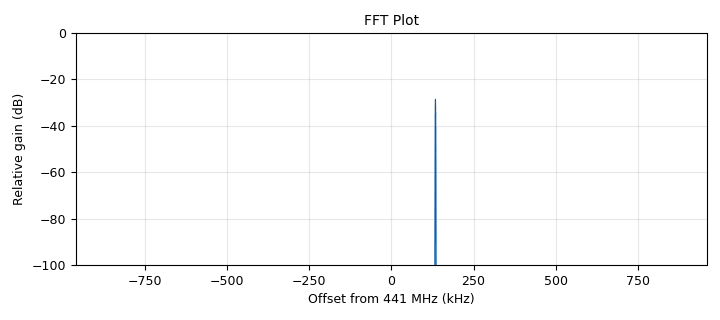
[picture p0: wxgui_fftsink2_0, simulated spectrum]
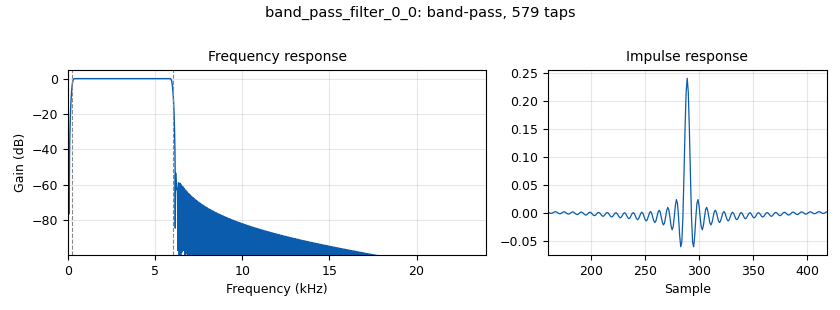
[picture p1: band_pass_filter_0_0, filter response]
<?xml version='1.0' encoding='utf-8'?>
<?grc format='1' created='3.7.13'?>
<flow_graph>
<block>
<key>options</key>
<param><key>id</key><value>SSB</value></param>
<param><key>generate_options</key><value>wx_gui</value></param>
</block>
<block>
<key>variable</key>
<param><key>id</key><value>audio_rate</value></param>
<param><key>value</key><value>48000</value></param>
</block>
<block>
<key>variable</key>
<param><key>id</key><value>samp_rate</value></param>
<param><key>value</key><value>1920000</value></param>
</block>
<block>
<key>analog_const_source_x</key>
<param><key>id</key><value>analog_const_source_x_0</value></param>
<param><key>const</key><value>0</value></param>
<param><key>type</key><value>float</value></param>
</block>
<block>
<key>analog_sig_source_x</key>
<param><key>id</key><value>analog_sig_source_x_0</value></param>
<param><key>amp</key><value>1</value></param>
<param><key>freq</key><value>2000</value></param>
<param><key>offset</key><value>1.5708</value></param>
<param><key>type</key><value>complex</value></param>
<param><key>samp_rate</key><value>samp_rate</value></param>
<param><key>waveform</key><value>analog.GR_SIN_WAVE</value></param>
</block>
<block>
<key>analog_sig_source_x</key>
<param><key>id</key><value>analog_sig_source_x_0_0</value></param>
<param><key>amp</key><value>3</value></param>
<param><key>freq</key><value>3000</value></param>
<param><key>offset</key><value>0</value></param>
<param><key>type</key><value>complex</value></param>
<param><key>samp_rate</key><value>samp_rate</value></param>
<param><key>waveform</key><value>analog.GR_SIN_WAVE</value></param>
</block>
<block>
<key>analog_sig_source_x</key>
<param><key>id</key><value>analog_sig_source_x_0_1_0</value></param>
<param><key>amp</key><value>1.8</value></param>
<param><key>freq</key><value>14000</value></param>
<param><key>offset</key><value>0</value></param>
<param><key>type</key><value>complex</value></param>
<param><key>samp_rate</key><value>audio_rate</value></param>
<param><key>waveform</key><value>analog.GR_SIN_WAVE</value></param>
</block>
<block>
<key>analog_sig_source_x</key>
<param><key>id</key><value>analog_sig_source_x_0_1_1</value></param>
<param><key>amp</key><value>.142857</value></param>
<param><key>freq</key><value>120000</value></param>
<param><key>offset</key><value>0</value></param>
<param><key>type</key><value>complex</value></param>
<param><key>samp_rate</key><value>samp_rate</value></param>
<param><key>waveform</key><value>analog.GR_COS_WAVE</value></param>
</block>
<block>
<key>analog_sig_source_x</key>
<param><key>id</key><value>analog_sig_source_x_1</value></param>
<param><key>amp</key><value>2</value></param>
<param><key>freq</key><value>4000</value></param>
<param><key>offset</key><value>0.7854</value></param>
<param><key>type</key><value>complex</value></param>
<param><key>samp_rate</key><value>samp_rate</value></param>
<param><key>waveform</key><value>analog.GR_SIN_WAVE</value></param>
</block>
<block>
<key>analog_sig_source_x</key>
<param><key>id</key><value>analog_sig_source_x_1_0</value></param>
<param><key>amp</key><value>5</value></param>
<param><key>freq</key><value>5000</value></param>
<param><key>offset</key><value>1.0472</value></param>
<param><key>type</key><value>complex</value></param>
<param><key>samp_rate</key><value>samp_rate</value></param>
<param><key>waveform</key><value>analog.GR_SIN_WAVE</value></param>
</block>
<block>
<key>band_pass_filter</key>
<param><key>id</key><value>band_pass_filter_0_0</value></param>
<param><key>decim</key><value>1</value></param>
<param><key>type</key><value>fir_filter_ccf</value></param>
<param><key>gain</key><value>1</value></param>
<param><key>high_cutoff_freq</key><value>6000</value></param>
<param><key>low_cutoff_freq</key><value>200</value></param>
<param><key>samp_rate</key><value>audio_rate</value></param>
<param><key>width</key><value>200</value></param>
<param><key>win</key><value>firdes.WIN_HAMMING</value></param>
</block>
<block>
<key>blocks_add_xx</key>
<param><key>id</key><value>blocks_add_xx_0</value></param>
<param><key>type</key><value>complex</value></param>
<param><key>num_inputs</key><value>4</value></param>
</block>
<block>
<key>blocks_complex_to_real</key>
<param><key>id</key><value>blocks_complex_to_real_0</value></param>
</block>
<block>
<key>blocks_float_to_complex</key>
<param><key>id</key><value>blocks_float_to_complex_0</value></param>
</block>
<block>
<key>blocks_multiply_xx</key>
<param><key>id</key><value>blocks_multiply_xx_0_0</value></param>
<param><key>type</key><value>complex</value></param>
</block>
<block>
<key>blocks_multiply_xx</key>
<param><key>id</key><value>blocks_multiply_xx_0_1</value></param>
<param><key>type</key><value>complex</value></param>
</block>
<block>
<key>blocks_wavfile_source</key>
<param><key>id</key><value>blocks_wavfile_source_0</value></param>
<param><key>_enabled</key><value>0</value></param>
<param><key>file</key><value>/home/shurrel2/Documents/GNU testing/can-you-keep-a-secret.wav</value></param>
<param><key>repeat</key><value>True</value></param>
</block>
<block>
<key>rational_resampler_xxx</key>
<param><key>id</key><value>rational_resampler_xxx_0</value></param>
<param><key>decim</key><value>audio_rate</value></param>
<param><key>interp</key><value>samp_rate</value></param>
<param><key>taps</key><value></value></param>
<param><key>type</key><value>ccc</value></param>
</block>
<block>
<key>wxgui_fftsink2</key>
<param><key>id</key><value>wxgui_fftsink2_0</value></param>
<param><key>avg_alpha</key><value>0</value></param>
<param><key>average</key><value>False</value></param>
<param><key>baseband_freq</key><value>441000000</value></param>
<param><key>fft_size</key><value>4096</value></param>
<param><key>freqvar</key><value>None</value></param>
<param><key>peak_hold</key><value>False</value></param>
<param><key>ref_level</key><value>0</value></param>
<param><key>ref_scale</key><value>2.0</value></param>
<param><key>fft_rate</key><value>15</value></param>
<param><key>samp_rate</key><value>samp_rate</value></param>
<param><key>title</key><value>FFT Plot</value></param>
<param><key>type</key><value>complex</value></param>
<param><key>win</key><value>None</value></param>
<param><key>y_divs</key><value>10</value></param>
<param><key>y_per_div</key><value>10</value></param>
</block>
<block>
<key>wxgui_scopesink2</key>
<param><key>id</key><value>wxgui_scopesink2_0</value></param>
<param><key>ac_couple</key><value>False</value></param>
<param><key>_enabled</key><value>0</value></param>
<param><key>num_inputs</key><value>1</value></param>
<param><key>samp_rate</key><value>samp_rate</value></param>
<param><key>t_scale</key><value>0</value></param>
<param><key>title</key><value>Scope Plot</value></param>
<param><key>trig_mode</key><value>wxgui.TRIG_MODE_AUTO</value></param>
<param><key>type</key><value>complex</value></param>
<param><key>v_offset</key><value>0</value></param>
<param><key>v_scale</key><value>0</value></param>
<param><key>xy_mode</key><value>False</value></param>
<param><key>y_axis_label</key><value>Counts</value></param>
</block>
<connection><source_block_id>analog_const_source_x_0</source_block_id><sink_block_id>blocks_float_to_complex_0</sink_block_id><source_key>0</source_key><sink_key>1</sink_key></connection>
<connection><source_block_id>analog_sig_source_x_0</source_block_id><sink_block_id>blocks_add_xx_0</sink_block_id><source_key>0</source_key><sink_key>0</sink_key></connection>
<connection><source_block_id>analog_sig_source_x_0_0</source_block_id><sink_block_id>blocks_add_xx_0</sink_block_id><source_key>0</source_key><sink_key>1</sink_key></connection>
<connection><source_block_id>analog_sig_source_x_0_1_0</source_block_id><sink_block_id>blocks_multiply_xx_0_0</sink_block_id><source_key>0</source_key><sink_key>1</sink_key></connection>
<connection><source_block_id>analog_sig_source_x_0_1_1</source_block_id><sink_block_id>blocks_multiply_xx_0_1</sink_block_id><source_key>0</source_key><sink_key>1</sink_key></connection>
<connection><source_block_id>analog_sig_source_x_1</source_block_id><sink_block_id>blocks_add_xx_0</sink_block_id><source_key>0</source_key><sink_key>2</sink_key></connection>
<connection><source_block_id>analog_sig_source_x_1_0</source_block_id><sink_block_id>blocks_add_xx_0</sink_block_id><source_key>0</source_key><sink_key>3</sink_key></connection>
<connection><source_block_id>band_pass_filter_0_0</source_block_id><sink_block_id>blocks_multiply_xx_0_0</sink_block_id><source_key>0</source_key><sink_key>0</sink_key></connection>
<connection><source_block_id>blocks_add_xx_0</source_block_id><sink_block_id>blocks_complex_to_real_0</sink_block_id><source_key>0</source_key><sink_key>0</sink_key></connection>
<connection><source_block_id>blocks_complex_to_real_0</source_block_id><sink_block_id>blocks_float_to_complex_0</sink_block_id><source_key>0</source_key><sink_key>0</sink_key></connection>
<connection><source_block_id>blocks_float_to_complex_0</source_block_id><sink_block_id>band_pass_filter_0_0</sink_block_id><source_key>0</source_key><sink_key>0</sink_key></connection>
<connection><source_block_id>blocks_multiply_xx_0_0</source_block_id><sink_block_id>rational_resampler_xxx_0</sink_block_id><source_key>0</source_key><sink_key>0</sink_key></connection>
<connection><source_block_id>blocks_multiply_xx_0_1</source_block_id><sink_block_id>wxgui_fftsink2_0</sink_block_id><source_key>0</source_key><sink_key>0</sink_key></connection>
<connection><source_block_id>blocks_multiply_xx_0_1</source_block_id><sink_block_id>wxgui_scopesink2_0</sink_block_id><source_key>0</source_key><sink_key>0</sink_key></connection>
<connection><source_block_id>rational_resampler_xxx_0</source_block_id><sink_block_id>blocks_multiply_xx_0_1</sink_block_id><source_key>0</source_key><sink_key>0</sink_key></connection>
</flow_graph>
